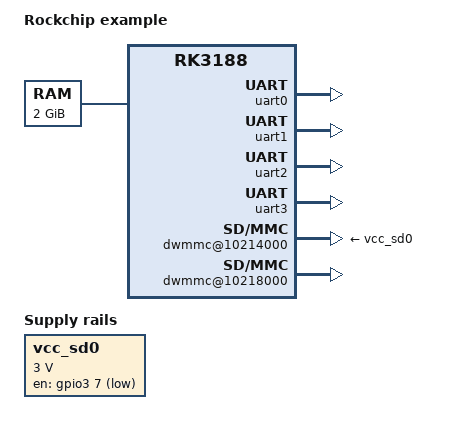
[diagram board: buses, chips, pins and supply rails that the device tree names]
/dts-v1/;
#include "rk3188.dtsi"

/ {
	model = "Rockchip example";

	chosen {
		bootargs = "earlyprintk console=ttyS2,115200";
	};

	memory {
		reg = <0x60000000 0x80000000>;
	};

	clocks {
	};

	soc {
		uart0: serial@10124000 {
			status = "okay";
		};

		uart1: serial@10126000 {
			status = "okay";
		};

		uart2: serial@20064000 {
			pinctrl-names = "default";
			pinctrl-0 = <&uart2_xfer>;
			status = "okay";
		};

		uart3: serial@20068000 {
			status = "okay";
		};

		vcc_sd0: fixed-regulator {
			compatible = "regulator-fixed";
			regulator-name = "sdmmc-supply";
			regulator-min-microvolt = <3000000>;
			regulator-max-microvolt = <3000000>;
			gpio = <&gpio3 7 GPIO_ACTIVE_LOW>;
			startup-delay-us = <100000>;
		};

		dwmmc@10214000 { /* sdmmc */
			num-slots = <1>;
			status = "okay";

			pinctrl-names = "default";
			pinctrl-0 = <&sd0_clk &sd0_cmd &sd0_cd &sd0_bus4>;
			vmmc-supply = <&vcc_sd0>;

			slot@0 {
				reg = <0>;
				bus-width = <4>;
				disable-wp;
			};
		};

		dwmmc@10218000 { /* wifi */
			num-slots = <1>;
			status = "okay";

			pinctrl-names = "default";
			pinctrl-0 = <&sd1_clk &sd1_cmd &sd1_bus4>;

			slot@0 {
				reg = <0>;
				bus-width = <4>;
				disable-wp;
			};
		};

	};
};

